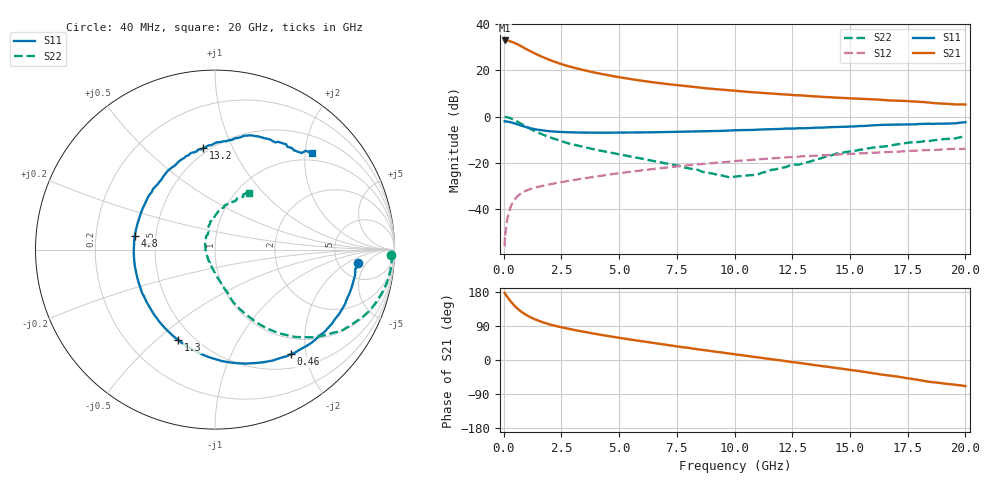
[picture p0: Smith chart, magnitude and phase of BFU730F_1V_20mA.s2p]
! Filename:  P:\Prog\Test\Noise\ATS_data\Testdata_Net\Split files Spar\BFU730_2W_B1_1V_1mA_30mA_Bias8_D.s2p
! Date/Time: Fri 29/Apr/2011 14:16:22
! BFU730_2W_B1_1V_1mA_30mA_Bias8_R.s2p
! MDIF S-parameter v. bias file
! BFU730_2W_B1_1V_1mA_30mA
! Date/time Thu Mar 17 14:34:31 2011
! VAR V_out= 1.0000
! VAR I_out= 19.9500
! VAR V_in= 0.8277
! VAR I_in= 0.0675
! Device data file deembeded for feedlines and parallel
! Original file: \Split files Spar\BFU730_2W_B1_1V_1mA_30mA_Bias8_R.s2p
! Feed-files: PR003V01_101208_Feed1.s2p, PR003V01_101208_Feed2.s2p
! Parallel-file: PR003V01_101208_Par.s2p
# MHz S MA R 50
!  Freq-MHz  S11-mag  S11-arg  S21-mag  S21-arg  S12-mag  S12-arg  S22-mag  S22-arg
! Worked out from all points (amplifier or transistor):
!   167 points, 40 MHz to 20 GHz, reference 50 ohm
!   highest |S21| = 33.0 dB at 40 MHz (marker M1)
!   |S21| within 3 dB of that: start of sweep to 843.1 MHz
!   unconditionally stable (mu >= 1): 4.255 GHz to 16.4 GHz
!   at 550 MHz: K = 0.21, MSG = 33.2 dB, |S12| = -34.9 dB
!   at 4.2 GHz: K = 1.00, MSG = 22.0 dB, |S12| = -25.5 dB
!   at 20 GHz: K = 0.92, MSG = 9.6 dB, |S12| = -13.9 dB
!   S11 on the Smith chart (normalised r, x): 40 MHz: 7.65, -3.05; 460 MHz: 0.71, -1.73; 1.3 GHz: 0.41, -0.59; 4.8 GHz: 0.38, +0.07; 13.2 GHz: 0.46, +0.78; 20 GHz: 0.84, +2.15
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40  0.7976 -5.2  44.58 177.2  0.001595 86.3  0.9835 -1.6
50  0.796 -7.2  44.58 175.6  0.002469 81.9  0.9846 -2.6
60  0.7892 -7.8  43.22 174.9  0.002357 81.5  0.9868 -3.4
90  0.792 -11.6  44.41 172.4  0.003525 84.2  0.9851 -5.9
240  0.773 -30.0  43.7 159.6  0.009066 76.7  0.9498 -17.0
340  0.7518 -41.5  41.79 151.9  0.01241 71.5  0.9097 -23.8
460  0.7197 -54.2  39.73 143.8  0.0159 66.0  0.8521 -30.7
600  0.6831 -66.8  36.96 135.4  0.01917 60.6  0.7782 -37.7
850  0.6226 -86.4  31.41 123.6  0.02357 53.9  0.6621 -47.3
1050  0.5819 -98.9  27.74 116.3  0.02615 50.5  0.5823 -52.8
1300  0.5448 -112.0  23.97 108.8  0.02879 47.8  0.503 -58.1
1650  0.5093 -126.8  19.9 100.5  0.03188 45.7  0.4204 -63.1
2100  0.4817 -141.2  16.13 92.1  0.03542 44.5  0.3457 -68.1
2700  0.464 -156.1  12.81 83.7  0.04023 44.0  0.275 -72.6
3400  0.455 -169.0  10.37 75.3  0.04599 43.5  0.2268 -76.1
4800  0.4537 170.6  7.456 60.5  0.05858 41.1  0.1621 -84.2
6800  0.4648 148.9  5.304 42.3  0.07737 35.1  0.1035 -98.8
10200  0.5135 119.8  3.589 13.5  0.1119 20.4  0.05196 -175.3
13200  0.5695 96.5  2.801 -11.1  0.1413 4.2  0.1052 110.3
13400  0.5739 95.2  2.775 -12.8  0.1437 2.9  0.1129 110.7
16800  0.675 69.2  2.245 -41.6  0.1739 -16.8  0.2405 78.0
20000  0.761 44.8  1.844 -69.0  0.2021 -37.5  0.3682 59.3
